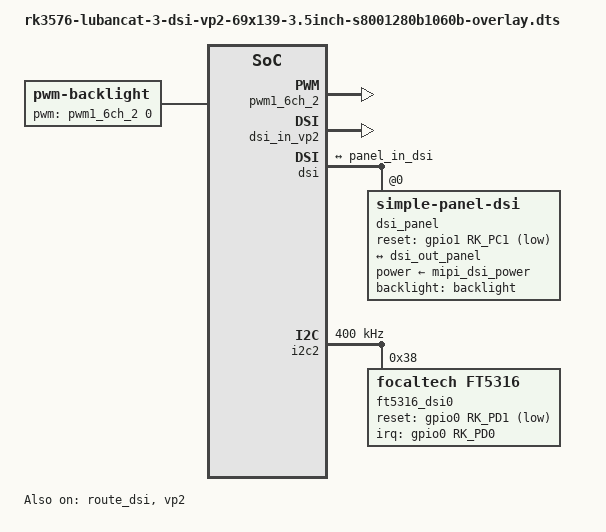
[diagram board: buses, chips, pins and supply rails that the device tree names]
/dts-v1/;
/plugin/;

#include <dt-bindings/gpio/gpio.h>
#include <dt-bindings/pinctrl/rockchip.h>
#include <dt-bindings/display/drm_mipi_dsi.h>
#include <dt-bindings/interrupt-controller/irq.h>

/ {
	fragment@0 {
		target-path = "/";

		__overlay__ {
			backlight: backlight {
				compatible = "pwm-backlight";
				pwms = <&pwm1_6ch_2 0 25000 0>;
				brightness-levels = <
					0  20  20  21  21  22  22  23
					23  24  24  25  25  26  26  27
					27  28  28  29  29  30  30  31
					31  32  32  33  33  34  34  35
					35  36  36  37  37  38  38  39
					40  41  42  43  44  45  46  47
					48  49  50  51  52  53  54  55
					56  57  58  59  60  61  62  63
					64  65  66  67  68  69  70  71
					72  73  74  75  76  77  78  79
					80  81  82  83  84  85  86  87
					88  89  90  91  92  93  94  95
					96  97  98  99 100 101 102 103
					104 105 106 107 108 109 110 111
					112 113 114 115 116 117 118 119
					120 121 122 123 124 125 126 127
					128 129 130 131 132 133 134 135
					136 137 138 139 140 141 142 143
					144 145 146 147 148 149 150 151
					152 153 154 155 156 157 158 159
					160 161 162 163 164 165 166 167
					168 169 170 171 172 173 174 175
					176 177 178 179 180 181 182 183
					184 185 186 187 188 189 190 191
					192 193 194 195 196 197 198 199
					200 201 202 203 204 205 206 207
					208 209 210 211 212 213 214 215
					216 217 218 219 220 221 222 223
					224 225 226 227 228 229 230 231
					232 233 234 235 236 237 238 239
					240 241 242 243 244 245 246 247
					248 249 250 251 252 253 254 255
				>;
				default-brightness-level = <200>;
			};
		};
	};

	fragment@1 {
		target = <&pwm1_6ch_2>;

		__overlay__ {
			status = "okay";
			pinctrl-0 = <&pwm1m1_ch2>;
		};
	};

	fragment@2 {
		target = <&route_dsi>;

		__overlay__ {
			status = "okay";
			connect = <&vp2_out_dsi>;
		};
	};

	fragment@3 {
		target = <&dsi_in_vp0>;

		__overlay__ {
			status = "disabled";
		};
	};

	fragment@4 {
		target = <&dsi_in_vp1>;

		__overlay__ {
			status = "disabled";
		};
	};

	fragment@5 {
		target = <&dsi_in_vp2>;

		__overlay__ {
			status = "okay";
		};
	};

	fragment@6 {
		target = <&dsi_in_vopl>;

		__overlay__ {
			status = "disabled";
		};
	};

	fragment@7 {
		target = <&vp2>;

		__overlay__ {
			status = "okay";
		};
	};

	fragment@8 {
		target = <&dsi>;

		__overlay__ {
			status = "okay";
			#address-cells = <1>;
			#size-cells = <0>;
			//rockchip,lane-rate = <1000>;

			dsi_panel: panel@0 {
				status = "okay";
				compatible = "simple-panel-dsi";
				reg = <0>;
				backlight = <&backlight>;
				power-supply = <&mipi_dsi_power>;
				reset-gpios = <&gpio1 RK_PC1 GPIO_ACTIVE_LOW>;

				enable-delay-ms = <120>;
				prepare-delay-ms = <20>;
				reset-delay-ms = <10>;
				init-delay-ms = <0>;
				unprepare-delay-ms = <20>;
				disable-delay-ms = <50>;

				size,width = <69>;
				size,height = <139>;


				// dsi,flags = <(MIPI_DSI_MODE_VIDEO | MIPI_DSI_MODE_VIDEO_BURST | MIPI_DSI_MODE_LPM | MIPI_DSI_MODE_EOT_PACKET | MIPI_DSI_CLOCK_NON_CONTINUOUS)>;
				dsi,flags = <(MIPI_DSI_MODE_VIDEO | MIPI_DSI_MODE_VIDEO_BURST | MIPI_DSI_MODE_LPM) >;
				dsi,format = <MIPI_DSI_FMT_RGB888>;
				dsi,lanes  = <2>;

				panel-init-sequence = [
					05 78 01 11
					39 00 06 FF 77 01 00 00 11
					15 00 02 D1 11
					15 00 02 55 B0
					39 00 06 FF 77 01 00 00 10
					39 00 03 C0 63 00
					39 00 03 C1 09 02
					39 00 03 C2 37 08
					15 00 02 C7 00
					15 00 02 CC 38
					39 00 11 B0 C0 0C 92 0C 10 05 02 0D 07 21 04 53 11 6A 32 1F
					39 00 11 B1 C0 87 CF 0C 10 06 00 03 08 1D 06 54 12 E6 EC 0F
					39 00 06 FF 77 01 00 00 11
					15 00 02 B0 5D
					15 00 02 B1 62
					15 00 02 B2 82
					15 00 02 B3 80
					15 00 02 B5 42
					15 00 02 B7 85
					15 00 02 B8 20
					15 00 02 C0 09
					15 00 02 C1 78
					15 00 02 C2 78
					15 00 02 D0 88
					15 64 02 EE 42	
					39 00 04 E0 00 00 02 
					39 00 0C E1 04 A0 06 A0 05 A0 07 A0 00 44 44
					39 00 0D E2 00 00 33 33 01 A0 00 00 01 A0 00 00
					39 00 05 E3 00 00 33 33
					39 00 03 E4 44 44
					39 00 11 E5 0C 30 A0 A0 0E 32 A0 A0 08 2C A0 A0 0A 2E A0 A0
					39 00 05 E6 00 00 33 33
					39 00 03 E7 44 44
					39 00 11 E8 0D 31 A0 A0 0F 33 A0 A0 09 2D A0 A0 0B 2F A0 A0
					39 00 08 EB 00 01 E4 E4 44 88 00
					39 00 11 ED FF F5 47 6F 0B A1 A2 BF FB 2A 1A B0 F6 74 5F FF
					15 00 02 EE 42
					39 00 06 FF 77 01 00 00 00
					15 00 02 36 00
					15 00 02 3A 70
					05 C8 01 11	
					05 32 01 29	
				];

				panel-exit-sequence = [
				05 00 01 28
				05 00 01 10
				];

				disp_timings0: display-timings {
					native-mode = <&dsi_timing0>;
					dsi_timing0: timing0 {
						clock-frequency = <28945000>;
						hactive = <480>;
						vactive = <800>;
						hsync-len = <60>;
						hback-porch = <10>;
						hfront-porch = <50>;
						vsync-len = <29>;
						vback-porch = <21>;
						vfront-porch = <5>;
						hsync-active = <0>;
						vsync-active = <0>;
						de-active = <0>;
						pixelclk-active = <1>;
					};
				};

				ports {
					#address-cells = <1>;
					#size-cells = <0>;

					port@0 {
						reg = <0>;
						panel_in_dsi: endpoint {
							remote-endpoint = <&dsi_out_panel>;
						};
					};
				};
			};

			ports {
				#address-cells = <1>;
				#size-cells = <0>;

				port@1 {
					reg = <1>;
					dsi_out_panel: endpoint {
						remote-endpoint = <&panel_in_dsi>;
					};
				};
			};
		};
	};

	fragment@9 {
		target = <&i2c2>;

		__overlay__ {
			pinctrl-names = "default";
			pinctrl-0 = <&i2c2m0_xfer>;
			#address-cells = <1>;
			#size-cells = <0>;
			clock-frequency = <400000>;
			status = "okay";

			ft5316_dsi0: ft5316@38 {
				status = "okay";
				compatible = "focaltech,ft5316";
				reg = <0x38>;
				interrupt-parent = <&gpio0>;
				interrupts = <RK_PD0 IRQ_TYPE_LEVEL_LOW>;
				reset-gpios = <&gpio0 RK_PD1 GPIO_ACTIVE_LOW>;
				irq-gpios = <&gpio0 RK_PD0 GPIO_ACTIVE_HIGH>;

				touchscreen-size-y = <800>;
				touchscreen-size-x = <480>;
				
				// touchscreen-inverted-x;  // x轴反转
				// touchscreen-inverted-y;  // x轴反转
				// touchscreen-swapped-x-y; // xy反转

			};
		};
	};
};
